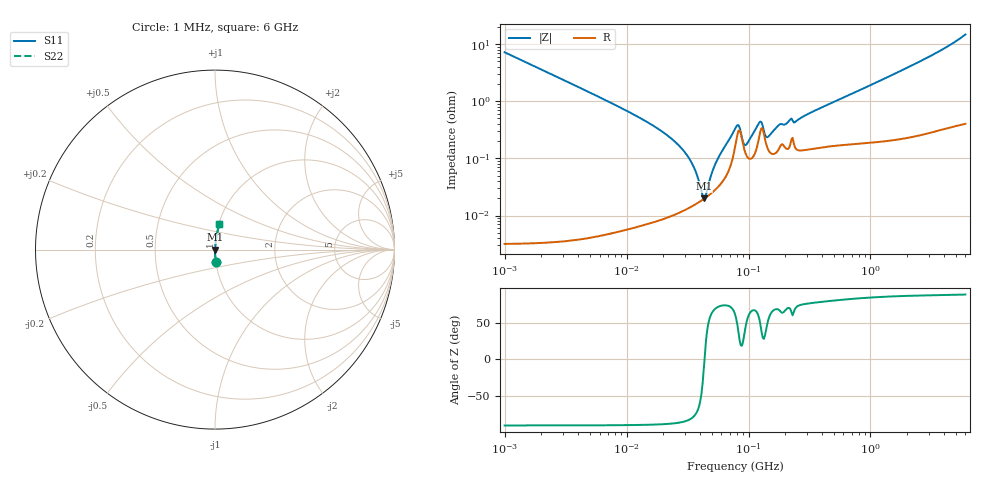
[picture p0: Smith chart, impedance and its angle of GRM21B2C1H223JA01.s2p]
!Murata Part Number: GRM21B2C1H223JA01
!These Parameters are Measured in Series Mode Connection
!Data Generated on Mar 30, 2021
!  o--ll--o
!Port1  Port2
!  o------o
!Operation Temp=25[degC], DC Bias Voltage=0[V]
!Freq. Start=1000[kHz] Stop=6[GHz] 401[Steps]
# Hz S RI R 50
!Freq.(Hz) S11(Real) S11(Imag) S21(Real) S21(Imag) S12(Real) S12(Imag) S22(Real) S22(Imag)
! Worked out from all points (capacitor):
!   401 points, 1 MHz to 6 GHz, reference 50 ohm
!   read as one part in series: C = 22.1 nF near 1.044 MHz
!   lowest |Z| = 19.9 mohm at 43.06 MHz (marker M1)
!   series resonance near 43.52 MHz, so ESL is about 610 pH
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1000000  0.00519 -0.0716  0.9948 0.0716  0.9948 0.0716  0.00519 -0.0716
4293785  0.000314 -0.0166  0.9997 0.0166  0.9997 0.0166  0.000314 -0.0166
1.843659e7  9.2e-05 -0.00322  0.9999 0.00322  0.9999 0.00322  9.2e-05 -0.00322
2.554826e7  0.00011 -0.00187  0.9999 0.00187  0.9999 0.00187  0.00011 -0.00187
3.175522e7  0.000133 -0.00108  0.9999 0.00108  0.9999 0.00108  0.000133 -0.00108
3.618157e7  0.000155 -0.000632  0.9998 0.000632  0.9998 0.000632  0.000155 -0.000632
4.305766e7  0.000196 -3.7e-05  0.9998 3.7e-05  0.9998 3.7e-05  0.000196 -3.7e-05
4.497189e7  0.000209 0.000114  0.9998 -0.000114  0.9998 -0.000114  0.000209 0.000114
5.013812e7  0.000251 0.000505  0.9997 -0.000505  0.9997 -0.000505  0.000251 0.000505
5.469524e7  0.000298 0.000839  0.9997 -0.000839  0.9997 -0.000839  0.000298 0.000839
7.745967e7  0.00156 0.00288  0.9984 -0.00288  0.9984 -0.00288  0.00156 0.00288
8.268215e7  0.00304 0.00229  0.997 -0.00229  0.997 -0.00229  0.00304 0.00229
9.420718e7  0.00125 0.00116  0.9988 -0.00116  0.9988 -0.00116  0.00125 0.00116
1.223006e8  0.00238 0.00348  0.9976 -0.00348  0.9976 -0.00348  0.00238 0.00348
1.277378e8  0.00337 0.00264  0.9966 -0.00264  0.9966 -0.00264  0.00337 0.00264
1.39348e8  0.00181 0.00154  0.9982 -0.00154  0.9982 -0.00154  0.00181 0.00154
1.455431e8  0.0014 0.00196  0.9986 -0.00196  0.9986 -0.00196  0.0014 0.00196
1.809028e8  0.0016 0.0036  0.9984 -0.0036  0.9984 -0.0036  0.0016 0.0036
2.452905e8  0.00148 0.0042  0.9985 -0.0042  0.9985 -0.0042  0.00148 0.0042
3.325952e8  0.0015 0.00633  0.9985 -0.00633  0.9985 -0.00633  0.0015 0.00633
1.428092e9  0.00277 0.0271  0.9972 -0.0271  0.9972 -0.0271  0.00277 0.0271
6e9  0.025 0.1431  0.975 -0.1431  0.975 -0.1431  0.025 0.1431
